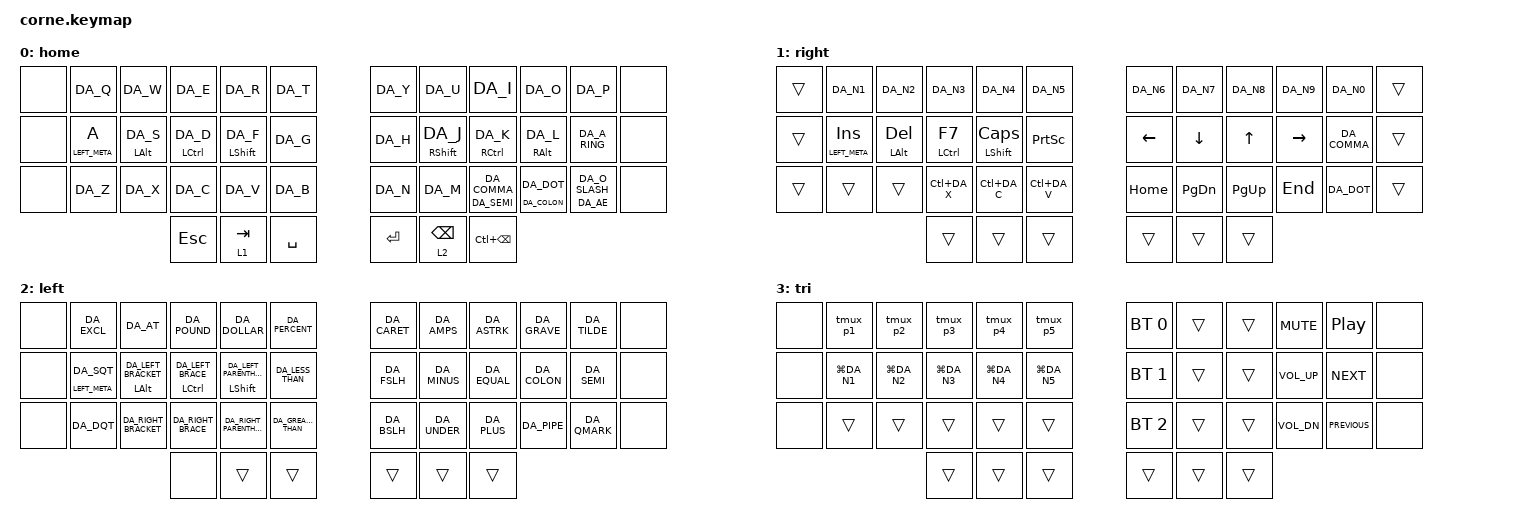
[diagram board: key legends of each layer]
/*
 * Copyright (c) 2020 The ZMK Contributors
 *
 * SPDX-License-Identifier: MIT
 */

#include "keys_da.h"
#include <behaviors.dtsi>
#include <dt-bindings/zmk/bt.h>
#include <dt-bindings/zmk/keys.h>

/ {
    behaviors {
        hm: homerow_mods {
            compatible = "zmk,behavior-hold-tap";
            label = "HOMEROW_MODS";
            bindings = <&kp>, <&kp>;

            #binding-cells = <2>;
            tapping-term-ms = <200>;
            flavor = "tap-preferred";
            require-prior-idle-ms = <125>;
            quick-tap-ms = <200>;
        };

        shifthr: shifthr {
            compatible = "zmk,behavior-hold-tap";
            label = "SHIFTHR";
            bindings = <&kp>, <&kp>;

            #binding-cells = <2>;
            tapping-term-ms = <185>;
            flavor = "tap-preferred";
            quick-tap-ms = <185>;
        };

        weak: weak {
            compatible = "zmk,behavior-hold-tap";
            label = "WEAK";
            bindings = <&kp>, <&kp>;

            #binding-cells = <2>;
            tapping-term-ms = <230>;
            flavor = "tap-preferred";
            require-prior-idle-ms = <125>;
            quick-tap-ms = <230>;
        };

        backspace: backspace {
            compatible = "zmk,behavior-tap-dance";
            label = "BACKSPACE";
            #binding-cells = <0>;
            bindings = <&kp BACKSPACE>, <&kp LC(BACKSPACE)>;
        };
    };

    combos {
        compatible = "zmk,combos";

        caps {
            bindings = <&kp CAPS>;
            key-positions = <6 5>;
        };

        jk_fix {
            bindings = <&kp ESCAPE>;
            key-positions = <0 1>;
        };

        quit_program {
            bindings = <&kp LS(LG(DA_Q))>;
            key-positions = <5 0>;
        };

        backspace {
            bindings = <&kp BACKSPACE>;
            key-positions = <11 10>;
        };
    };

    macros {
        save: save {
            compatible = "zmk,behavior-macro";
            #binding-cells = <0>;
            bindings = <&macro_tap>, <&kp ESCAPE &kp COLON &kp W &kp ENTER>;

            label = "SAVE";
        };

        tmux_p1: tmux_p1 {
            compatible = "zmk,behavior-macro";
            #binding-cells = <0>;
            bindings = <&kp LC(DA_S) &kp DA_N1>;
            label = "TMUX_P1";
        };

        tmux_p2: tmux_p2 {
            compatible = "zmk,behavior-macro";
            #binding-cells = <0>;
            bindings = <&kp LC(DA_S) &kp DA_N2>;
            label = "TMUX_P2";
        };

        tmux_p3: tmux_p3 {
            compatible = "zmk,behavior-macro";
            #binding-cells = <0>;
            bindings = <&kp LC(DA_S) &kp DA_N3>;
            label = "TMUX_P3";
        };

        tmux_p4: tmux_p4 {
            compatible = "zmk,behavior-macro";
            #binding-cells = <0>;
            bindings = <&kp LC(DA_S) &kp DA_N4>;
            label = "TMUX_P4";
        };

        tmux_p5: tmux_p5 {
            compatible = "zmk,behavior-macro";
            #binding-cells = <0>;
            bindings = <&kp LC(DA_S) &kp DA_N5>;
            label = "TMUX_P5";
        };
    };

    keymap {
        compatible = "zmk,keymap";

        home {
            // -----------------------------------------------------------------------------------------
            // |  TAB |  Q  |  W  |  E  |  R  |  T  |   |  Y  |  U   |  I  |  O  |  P  | BKSP |
            // | CTRL |  A  |  S  |  D  |  F  |  G  |   |  H  |  J   |  K  |  L  |  ;  |  '   |
            // | SHFT |  Z  |  X  |  C  |  V  |  B  |   |  N  |  M   |  ,  |  .  |  /  | ESC  |
            //                    | GUI | LWR | SPC |   | ENT | RSE  | ALT |

            bindings = <
&none  &kp DA_Q           &kp DA_W             &kp DA_E                    &kp DA_R                  &kp DA_T     &kp DA_Y   &kp DA_U              &kp DA_I              &kp DA_O              &kp DA_P              &none
&none  &weak LEFT_META A  &weak LEFT_ALT DA_S  &shifthr LEFT_CONTROL DA_D  &shifthr LEFT_SHIFT DA_F  &kp DA_G     &kp DA_H   &shifthr RSHIFT DA_J  &shifthr RCTRL DA_K   &weak RIGHT_ALT DA_L  &kp DA_A_RING         &none
&none  &kp DA_Z           &kp DA_X             &kp DA_C                    &kp DA_V                  &kp DA_B     &kp DA_N   &kp DA_M              &hm DA_SEMI DA_COMMA  &hm DA_COLON DA_DOT   &hm DA_AE DA_O_SLASH  &none
                                               &kp ESC                     &lt 1 TAB                 &kp SPACE    &kp ENTER  &lt 2 BACKSPACE       &kp LC(BACKSPACE)
            >;

            label = "home";
        };

        right {
            bindings = <
&trans  &kp DA_N1             &kp DA_N2         &kp DA_N3     &kp DA_N4                &kp DA_N5          &kp DA_N6       &kp DA_N7  &kp DA_N8     &kp DA_N9  &kp DA_N0     &trans
&trans  &hm LEFT_META INSERT  &hm LEFT_ALT DEL  &hm LCTRL F7  &hm LEFT_SHIFT CAPSLOCK  &kp PRINTSCREEN    &kp LEFT_ARROW  &kp DOWN   &kp UP_ARROW  &kp RIGHT  &kp DA_COMMA  &trans
&trans  &trans                &trans            &kp LC(DA_X)  &kp LC(DA_C)             &kp LC(DA_V)       &kp HOME        &kp PG_DN  &kp PG_UP     &kp END    &kp DA_DOT    &trans
                                                &trans        &trans                   &trans             &trans          &trans     &trans
            >;

            label = "right";
        };

        left {
            // -----------------------------------------------------------------------------------------
            // |  TAB |  !  |  @  |  #  |  $  |  %  |   |  ^  |  &  |  *  |  (  |  )  | BKSP |
            // | CTRL |     |     |     |     |     |   |  -  |  =  |  [  |  ]  |  \  |  `   |
            // | SHFT |     |     |     |     |     |   |  _  |  +  |  {  |  }  | "|" |  ~   |
            //                    | GUI |     | SPC |   | ENT |     | ALT |

            bindings = <
&none  &kp DA_EXCL           &kp DA_AT                     &kp DA_POUND             &kp DA_DOLLAR                       &kp DA_PERCENT         &kp DA_CARET  &kp DA_AMPS   &kp DA_ASTRK  &kp DA_GRAVE  &kp DA_TILDE  &none
&none  &hm LEFT_META DA_SQT  &hm LEFT_ALT DA_LEFT_BRACKET  &hm LCTRL DA_LEFT_BRACE  &hm LEFT_SHIFT DA_LEFT_PARENTHESIS  &kp DA_LESS_THAN       &kp DA_FSLH   &kp DA_MINUS  &kp DA_EQUAL  &kp DA_COLON  &kp DA_SEMI   &none
&none  &kp DA_DQT            &kp DA_RIGHT_BRACKET          &kp DA_RIGHT_BRACE       &kp DA_RIGHT_PARENTHESIS            &kp DA_GREATER_THAN    &kp DA_BSLH   &kp DA_UNDER  &kp DA_PLUS   &kp DA_PIPE   &kp DA_QMARK  &none
                                                           &none                    &trans                              &trans                 &trans        &trans        &trans
            >;

            label = "left";
        };

        tri {
            bindings = <
&none  &tmux_p1       &tmux_p2       &tmux_p3       &tmux_p4       &tmux_p5         &bt BT_SEL 0  &trans  &trans  &kp C_MUTE    &kp C_PP        &none
&none  &kp LG(DA_N1)  &kp LG(DA_N2)  &kp LG(DA_N3)  &kp LG(DA_N4)  &kp LG(DA_N5)    &bt BT_SEL 1  &trans  &trans  &kp C_VOL_UP  &kp C_NEXT      &none
&none  &trans         &trans         &trans         &trans         &trans           &bt BT_SEL 2  &trans  &trans  &kp C_VOL_DN  &kp C_PREVIOUS  &none
                                     &trans         &trans         &trans           &trans        &trans  &trans
            >;

            label = "tri";
        };
    };

    conditional_layers {
        compatible = "zmk,conditional-layers";

        tri_layer {
            if-layers = <1 2>;
            then-layer = <3>;
        };
    };
};
